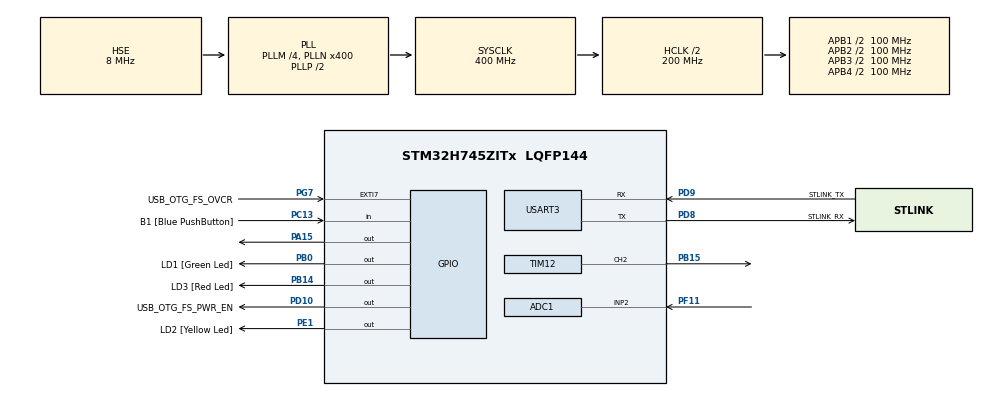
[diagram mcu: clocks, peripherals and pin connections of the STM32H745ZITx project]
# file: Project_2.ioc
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ADC1.Channel-0\#ChannelRegularConversion=ADC_CHANNEL_2
ADC1.ClockPrescaler=ADC_CLOCK_ASYNC_DIV2
ADC1.NbrOfConversion=1
ADC1.NbrOfConversionFlag=1
ADC1.OffsetNumber-0\#ChannelRegularConversion=ADC_OFFSET_NONE
ADC1.OffsetSignedSaturation-0\#ChannelRegularConversion=DISABLE
ADC1.Overrun=ADC_OVR_DATA_OVERWRITTEN
ADC1.OversamplingMode=DISABLE
ADC1.Rank-0\#ChannelRegularConversion=1
ADC1.SamplingTime-0\#ChannelRegularConversion=ADC_SAMPLETIME_1CYCLE_5
ADC1.master=1
CortexM4.IPs=FATFS_M4\:I,FREERTOS_M4\:I,IWDG2\:I,RCC,WWDG2\:I,DMA,BDMA,MDMA,NVIC2\:I,USART3,DEBUG,USB_DEVICE_M4\:I,USB_HOST_M4\:I,PDM2PCM_M4\:I,PWR,RESMGR_UTILITY,SYS_M4\:I,CORTEX_M4\:I,OPENAMP_M4\:I,VREFBUF,GPIO
CortexM7.IPs=FATFS_M7\:I,FREERTOS_M7\:I,IWDG1\:I,RCC\:I,WWDG1\:I,DMA\:I,BDMA\:I,MDMA\:I,NVIC1\:I,SYS\:I,USART3\:I,CORTEX_M7\:I,DEBUG\:I,USB_DEVICE_M7\:I,USB_HOST_M7\:I,PDM2PCM_M7\:I,PWR\:I,RESMGR_UTILITY\:I,OPENAMP_M7\:I,VREFBUF\:I,GPIO\:I,TIM4\:I,TIM12\:I,ADC1\:I
CortexM7.Pins=PA15 (JTDI)
FREERTOS_M7.Mutexes01=Mutex,Dynamic,NULL
FREERTOS_M7.Tasks01=defaultTask,24,128,StartDefaultTask,Default,NULL,Dynamic,NULL,NULL;THREAD1,24,128,proc_terminal_input,Default,NULL,Dynamic,NULL,NULL;THREAD2,24,128,read_from_ADC,Default,NULL,Dynamic,NULL,NULL
FREERTOS_M7.configUSE_NEWLIB_REENTRANT=1
Mcu.Family=STM32H7
Mcu.Name=STM32H745ZITx
Mcu.Package=LQFP144
NVIC1.PriorityGroup=NVIC_PRIORITYGROUP_4
NVIC1.TIM4_IRQn=true\:15\:0\:false\:false\:true\:false\:false\:true\:true
NVIC1.TimeBase=TIM4_IRQn
NVIC1.TimeBaseIP=TIM4
NVIC2.PriorityGroup=NVIC_PRIORITYGROUP_4
PA1.PinAttribute=CortexM4
PA1.Signal=ETH_REF_CLK
PA11.PinAttribute=CortexM7
PA11.Signal=USB_OTG_FS_DM
PA12.PinAttribute=CortexM7
PA12.Signal=USB_OTG_FS_DP
PA15\ (JTDI).GPIO_Speed=GPIO_SPEED_FREQ_VERY_HIGH
PA15\ (JTDI).PinAttribute=CortexM7
PA15\ (JTDI).Signal=GPIO_Output
PA2.PinAttribute=CortexM4
PA2.Signal=ETH_MDIO
PA7.PinAttribute=CortexM4
PA7.Signal=ETH_CRS_DV
PA8.PinAttribute=CortexM7
PA8.Signal=USB_OTG_FS_SOF
PA9.PinAttribute=CortexM7
PA9.Signal=USB_OTG_FS_VBUS
PB0.GPIO_Label=LD1 [Green Led]
PB0.PinAttribute=Free
PB0.Signal=GPIO_Output
PB13.PinAttribute=CortexM4
PB13.Signal=ETH_TXD1
PB14.GPIO_Label=LD3 [Red Led]
PB14.PinAttribute=Free
PB14.Signal=GPIO_Output
PB15.GPIO_PuPd=GPIO_NOPULL
PB15.GPIO_Speed=GPIO_SPEED_FREQ_VERY_HIGH
PB15.PinAttribute=CortexM7
PB15.Signal=S_TIM12_CH2
PC1.PinAttribute=CortexM4
PC1.Signal=ETH_MDC
PC13.GPIO_Label=B1 [Blue PushButton]
PC13.PinAttribute=Free
PC13.Signal=GPIO_Input
PC14-OSC32_IN\ (OSC32_IN).Mode=LSE-External-Oscillator
PC14-OSC32_IN\ (OSC32_IN).PinAttribute=CortexM7
PC14-OSC32_IN\ (OSC32_IN).Signal=RCC_OSC32_IN
PC15-OSC32_OUT\ (OSC32_OUT).Mode=LSE-External-Oscillator
PC15-OSC32_OUT\ (OSC32_OUT).PinAttribute=CortexM7
PC15-OSC32_OUT\ (OSC32_OUT).Signal=RCC_OSC32_OUT
PC4.PinAttribute=CortexM4
PC4.Signal=ETH_RXD0
PC5.PinAttribute=CortexM4
PC5.Signal=ETH_RXD1
PD0.PinAttribute=CortexM7
PD0.Signal=UART4_RX
PD1.PinAttribute=CortexM7
PD1.Signal=UART4_TX
PD10.GPIO_Label=USB_OTG_FS_PWR_EN
PD10.PinAttribute=Free
PD10.Signal=GPIO_Output
PD8.GPIO_Label=STLINK_RX
PD8.Mode=Asynchronous
PD8.PinAttribute=CortexM7
PD8.Signal=USART3_TX
PD9.GPIO_Label=STLINK_TX
PD9.Mode=Asynchronous
PD9.PinAttribute=CortexM7
PD9.Signal=USART3_RX
PE1.GPIO_Label=LD2 [Yellow Led]
PE1.PinAttribute=Free
PE1.Signal=GPIO_Output
PF11.Mode=IN2-Single-Ended
PF11.PinAttribute=CortexM7
PF11.Signal=ADC1_INP2
PG11.PinAttribute=CortexM4
PG11.Signal=ETH_TX_EN
PG13.PinAttribute=CortexM4
PG13.Signal=ETH_TXD0
PG7.GPIO_Label=USB_OTG_FS_OVCR
PG7.PinAttribute=Free
PG7.Signal=GPXTI7
PH0-OSC_IN\ (PH0).Mode=HSE-External-Clock-Source
PH0-OSC_IN\ (PH0).PinAttribute=CortexM7
PH0-OSC_IN\ (PH0).Signal=RCC_OSC_IN
PH1-OSC_OUT\ (PH1).PinAttribute=CortexM7
PH1-OSC_OUT\ (PH1).Signal=RCC_OSC_OUT
ProjectManager.HeapSize=M4-0x200,M7-0x400
ProjectManager.StackSize=M4-0x400,M7-0x800
ProjectManager.TargetToolchain=STM32CubeIDE
RCC.ADCCLockSelection=RCC_ADCCLKSOURCE_CLKP
RCC.ADCFreq_Value=64000000
RCC.APB1Freq_Value=100000000
RCC.APB2Freq_Value=100000000
RCC.APB3Freq_Value=100000000
RCC.APB4Freq_Value=100000000
RCC.CortexFreq_Value=400000000
RCC.D1PPRE=RCC_APB3_DIV2
RCC.D2PPRE1=RCC_APB1_DIV2
RCC.D2PPRE2=RCC_APB2_DIV2
RCC.D3PPRE=RCC_APB4_DIV2
RCC.DIVM1=4
RCC.DIVM3=1
RCC.DIVN1=400
RCC.DIVN3=18
RCC.DIVQ1=4
RCC.DIVQ3=3
RCC.HCLKFreq_Value=200000000
RCC.HPRE=RCC_HCLK_DIV2
RCC.HSE_VALUE=8000000
RCC.PLL1_VCI_Range-AdvancedSettings=RCC_PLL1VCIRANGE_0
RCC.PLL2FRACN=0
RCC.PLL2_VCI_Range-AdvancedSettings=RCC_PLL2VCIRANGE_0
RCC.PLL3FRACN=6144
RCC.PLL3_VCI_Range-AdvancedSettings=RCC_PLL3VCIRANGE_0
RCC.PLLFRACN=0
RCC.PLLSourceVirtual=RCC_PLLSOURCE_HSE
RCC.SYSCLKFreq_VALUE=400000000
RCC.SYSCLKSource=RCC_SYSCLKSOURCE_PLLCLK
RCC.SupplySource=PWR_DIRECT_SMPS_SUPPLY
RCC.USBCLockSelection=RCC_USBCLKSOURCE_PLL3
RCC.USBFreq_Value=50000000
SH.S_TIM12_CH2.0=TIM12_CH2,PWM Generation2 CH2
TIM12.AutoReloadPreload=TIM_AUTORELOAD_PRELOAD_ENABLE
TIM12.Channel-PWM\ Generation2\ CH2=TIM_CHANNEL_2
TIM12.Period=1
TIM12.Prescaler=9
TIM12.Pulse-PWM\ Generation2\ CH2=0
USART3.VirtualMode-Asynchronous=VM_ASYNC
VP_FREERTOS_M7_VS_CMSIS_V2.Mode=CMSIS_V2
VP_SYS_M4_VS_Systick.Mode=SysTick
VP_SYS_VS_tim4.Mode=TIM4
VP_TIM12_VS_ClockSourceINT.Mode=Internal
board=NUCLEO-H745ZI-Q

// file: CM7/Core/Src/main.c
/* USER CODE BEGIN Header */
/**
  ******************************************************************************
  * @file           : main.c
  * @brief          : Main program body
  ******************************************************************************
  * @attention
  *
  * Copyright (c) 2025 STMicroelectronics.
  * All rights reserved.
  *
  * This software is licensed under terms that can be found in the LICENSE file
  * in the root directory of this software component.
  * If no LICENSE file comes with this software, it is provided AS-IS.
  *
  ******************************************************************************
  */
/* USER CODE END Header */
#include "main.h"
#include "cmsis_os.h"

/* USER CODE BEGIN Includes */
#include <stdio.h>
#include <stdbool.h>
#include <stm32h7xx_hal_tim.h>
/* USER CODE END Includes */

/* USER CODE BEGIN PD */

#ifndef HSEM_ID_0
#define HSEM_ID_0 (0U) /* HW semaphore 0*/
#endif
/* USER CODE END PD */

ADC_HandleTypeDef hadc1;

TIM_HandleTypeDef htim12;

UART_HandleTypeDef huart3;

/* Definitions for defaultTask */
osThreadId_t defaultTaskHandle;
const osThreadAttr_t defaultTask_attributes = {
  .name = "defaultTask",
  .stack_size = 128 * 4,
  .priority = (osPriority_t) osPriorityNormal,
};
/* Definitions for THREAD1 */
osThreadId_t THREAD1Handle;
const osThreadAttr_t THREAD1_attributes = {
  .name = "THREAD1",
  .stack_size = 128 * 4,
  .priority = (osPriority_t) osPriorityNormal,
};
/* Definitions for THREAD2 */
osThreadId_t THREAD2Handle;
const osThreadAttr_t THREAD2_attributes = {
  .name = "THREAD2",
  .stack_size = 128 * 4,
  .priority = (osPriority_t) osPriorityNormal,
};
/* Definitions for Mutex */
osMutexId_t MutexHandle;
const osMutexAttr_t Mutex_attributes = {
  .name = "Mutex"
};

void SystemClock_Config(void);
void PeriphCommonClock_Config(void);
static void MX_GPIO_Init(void);
static void MX_USART3_UART_Init(void);
static void MX_TIM12_Init(void);
static void MX_ADC1_Init(void);
void StartDefaultTask(void *argument);
void proc_terminal_input(void *argument);
void read_from_ADC(void *argument);

/* USER CODE BEGIN PFP */
#ifdef __GNUC__
/* With GCC/RAISONANCE, small printf (option LD Linker->Libraries->Small printf
   set to 'Yes') calls __io_putchar() */
#define PUTCHAR_PROTOTYPE int __io_putchar(int ch)
#else
#define PUTCHAR_PROTOTYPE int fputc(int ch, FILE *f)
#endif /* __GNUC__ */
/* USER CODE END PFP */

/* USER CODE BEGIN 0 */
__IO uint16_t uhADCxConvertedValue = 0;

float freq;
float PERIOD_VALUE12;
float PULSE_SCALE12;
float pwm;
float* octaves;
int note_idx;
int octaves_idx;

#define SHORT_OCTAVE 0
#define FIRST_OCTAVE 1
#define SECOND_OCTAVE 2
#define THIRD_OCTAVE 3

#define LA  0
#define SI  1
#define DO  2
#define RE  3
#define MI  4
#define FA  5
#define SOL 6

bool power_on = false;

typedef void (*fptr)();

const float short_octaves[] = {220.00, 246.96, 130.82, 147.83, 164.81, 174.62, 196.00};
const float first_octaves[] = {440.00, 493.88, 261.63, 293.66, 329.63, 349.23, 392.00};
const float second_octaves[] = {880.00, 987.75, 523.25, 587.32, 659.26, 698.46, 784.00};
const float third_octaves[] = {1720.00, 1975.50, 1046.50, 1174.60, 1318.50, 1396.90, 1568.00};

//const float short_octaves[] = {2830.53, 2869.99, 2700.00, 2724.90, 2749.75, 2764.11, 2795.40};
//const float first_octaves[] = {3152.54, 3231.40, 2891.46, 2938.34, 2990.99, 3019.68, 3082.28};
//const float second_octaves[] = {3796.55, 3954.26, 3274.39, 3368.16, 3473.46, 3530.84, 3656.04};
//const float third_octaves[] = {5026.03, 5400.00, 4040.25, 4227.75, 4438.37, 4553.12, 4803.56};

const float* octaves_list[] = {short_octaves, first_octaves, second_octaves, third_octaves};

typedef struct {
	uint8_t ascii;
	fptr funcptr;
} Command;

Command* commands;
int cnt;

void set_pwm(float new_pwm) {
	osMutexAcquire(MutexHandle, osWaitForever);
	pwm = new_pwm;
	__HAL_TIM_SET_COMPARE(&htim12, TIM_CHANNEL_2, PULSE_SCALE12 * new_pwm);
	osMutexRelease(MutexHandle);
}

void set_frequency(float frequency) {
	freq = frequency;
	PERIOD_VALUE12 = (uint32_t)(20000000/freq - 1);
	PULSE_SCALE12 =  (uint32_t)(PERIOD_VALUE12/100.);
	__HAL_TIM_SET_AUTORELOAD(&htim12, PERIOD_VALUE12);
	set_pwm(pwm);
}

void set_note(int note) {
	float frequency = octaves[note] + 400;
	set_frequency(frequency);
}

void set_short_octave() {
	octaves = (float*)octaves_list[SHORT_OCTAVE];
	octaves_idx = SHORT_OCTAVE;
	printf("setting SHORT octave\r\n");
	set_note(note_idx);
}

void set_first_octave() {
	octaves = (float*)octaves_list[FIRST_OCTAVE];
	octaves_idx = FIRST_OCTAVE;
	printf("setting FIRST octave\r\n");
	set_note(note_idx);
}

void set_second_octave() {
	octaves = (float*)octaves_list[SECOND_OCTAVE];
	octaves_idx = SECOND_OCTAVE;
	printf("setting SECOND octave\r\n");
	set_note(note_idx);
}

void set_third_octave() {
	octaves = (float*)octaves_list[THIRD_OCTAVE];
	octaves_idx = THIRD_OCTAVE;
	printf("setting THIRD octave\r\n");
	set_note(note_idx);
}

void print_arrows() {
	uint8_t arrows[] = {62, 62, 62, 32};
	HAL_UART_Transmit(&huart3, arrows, 4, HAL_MAX_DELAY);
}

void print_menu() {
	printf("' ' - power on/off, 'a' - La, 'b' - Si, 'c' - Do, 'd' - Re, 'e' - Mi, 'f' - Fa, 'g' - Sol\r\n");
	printf("'0' - short octave, '1' - 1-st octave, '2' - 2-nd octave, '3' - 3-rd octave\r\n");
	printf("'m' - call menu\r\n");
}

void print_character(uint8_t ch) {
	HAL_UART_Transmit(&huart3, &ch, 1, HAL_MAX_DELAY);
	printf("\r\n");
}

void poweroff(bool use_print) {
	if (use_print) {
		printf("go off\r\n");
	}
	set_pwm(0);
}

void poweron() {
	printf("go on\r\n");
	set_pwm(pwm);
}

void power_control() {
	if (power_on) {
		poweroff(true);
	}
	else {
		poweron();
	}
	power_on = !power_on;
}

void set_la() {
	set_note(LA);
	note_idx = LA;
	printf("setting LA note\r\n");
}

void set_si() {
	set_note(SI);
	note_idx = SI;
	printf("setting SI note\r\n");
}

void set_do() {
	set_note(DO);
	note_idx = DO;
	printf("setting DO note\r\n");
}

void set_re() {
	set_note(RE);
	note_idx = RE;
	printf("setting RE note\r\n");
}

void set_mi() {
	set_note(MI);
	note_idx = MI;
	printf("setting MI note\r\n");
}

void set_fa() {
	set_note(FA);
	note_idx = FA;
	printf("setting FA note\r\n");
}

void set_sol() {
	set_note(SOL);
	note_idx = SOL;
	printf("setting SOL note\r\n");
}

Command init_command(uint8_t ascii, fptr funcptr) {
	Command cmd;
	cmd.ascii = ascii;
	cmd.funcptr = funcptr;
	cnt++;
	return cmd;
}

void call_command(uint8_t ascii) {
	for (int i = 0; i < cnt; i++) {
		Command* cmd = &commands[i];
		if (cmd->ascii == ascii) {
			cmd->funcptr();
			return;
		}
	}
	printf("Wrong command!\r\n");
}

void set_init_octave() {
	octaves = (float*)octaves_list[THIRD_OCTAVE];
}

/* USER CODE END 0 */

int main(void)
{
/* USER CODE BEGIN Boot_Mode_Sequence_0 */
  int32_t timeout;
/* USER CODE END Boot_Mode_Sequence_0 */

/* USER CODE BEGIN Boot_Mode_Sequence_1 */
  /* Wait until CPU2 boots and enters in stop mode or timeout*/
  timeout = 0xFFFF;
  while((__HAL_RCC_GET_FLAG(RCC_FLAG_D2CKRDY) != RESET) && (timeout-- > 0));
  if ( timeout < 0 )
  {
  Error_Handler();
  }
/* USER CODE END Boot_Mode_Sequence_1 */
  /* MCU Configuration--------------------------------------------------------*/

  /* Reset of all peripherals, Initializes the Flash interface and the Systick. */
  HAL_Init();

  /* Configure the system clock */
  SystemClock_Config();

/* Configure the peripherals common clocks */
  PeriphCommonClock_Config();
/* USER CODE BEGIN Boot_Mode_Sequence_2 */
/* When system initialization is finished, Cortex-M7 will release Cortex-M4 by means of
HSEM notification */
/*HW semaphore Clock enable*/
__HAL_RCC_HSEM_CLK_ENABLE();
/*Take HSEM */
HAL_HSEM_FastTake(HSEM_ID_0);
/*Release HSEM in order to notify the CPU2(CM4)*/
HAL_HSEM_Release(HSEM_ID_0,0);
/* wait until CPU2 wakes up from stop mode */
timeout = 0xFFFF;
while((__HAL_RCC_GET_FLAG(RCC_FLAG_D2CKRDY) == RESET) && (timeout-- > 0));
if ( timeout < 0 )
{
Error_Handler();
}
/* USER CODE END Boot_Mode_Sequence_2 */

  /* Initialize all configured peripherals */
  MX_GPIO_Init();
  MX_USART3_UART_Init();
  MX_TIM12_Init();
  MX_ADC1_Init();
  /* USER CODE BEGIN 2 */
  if (HAL_TIM_PWM_Start(&htim12, TIM_CHANNEL_2) != HAL_OK)
  {
    /* PWM generation Error */
    Error_Handler();
  }

  if (HAL_ADCEx_Calibration_Start(&hadc1, ADC_CALIB_OFFSET_LINEARITY, ADC_SINGLE_ENDED) != HAL_OK)
  {
	/* Calibration Error */
	Error_Handler();
  }

  poweroff(false);
  set_init_octave();
  set_note(LA);

  Command powermode = init_command(32, &power_control);           // " "
  Command la_cmd = init_command(97, &set_la);                     // "a"
  Command si_cmd = init_command(98, &set_si);                     // "b"
  Command do_cmd = init_command(99, &set_do);                     // "c"
  Command re_cmd = init_command(100, &set_re);                    // "d"
  Command mi_cmd = init_command(101, &set_mi);                    // "e"
  Command fa_cmd = init_command(102, &set_fa);                    // "f"
  Command sol_cmd = init_command(103, &set_sol);                  // "g"
  Command short_oct_cmd = init_command(48, &set_short_octave);    // "0"
  Command first_oct_cmd = init_command(49, &set_first_octave);    // "1"
  Command second_oct_cmd = init_command(50, &set_second_octave);  // "2"
  Command third_oct_cmd = init_command(51, &set_third_octave);    // "3"
  Command menu_cmd = init_command(109, &print_menu);              // "m"

  Command tmp[] = {
		  powermode,
		  la_cmd,
		  si_cmd,
		  do_cmd,
		  re_cmd,
		  mi_cmd,
		  fa_cmd,
		  sol_cmd,
		  short_oct_cmd,
		  first_oct_cmd,
		  second_oct_cmd,
		  third_oct_cmd,
		  menu_cmd,
  };
  commands = tmp;

  print_menu();
  print_arrows();

  /* USER CODE END 2 */

  /* Init scheduler */
  osKernelInitialize();
  /* Create the mutex(es) */
  /* creation of Mutex */
  MutexHandle = osMutexNew(&Mutex_attributes);

  /* Create the thread(s) */
  /* creation of defaultTask */
  defaultTaskHandle = osThreadNew(StartDefaultTask, NULL, &defaultTask_attributes);

  /* creation of THREAD1 */
  THREAD1Handle = osThreadNew(proc_terminal_input, NULL, &THREAD1_attributes);

  /* creation of THREAD2 */
  THREAD2Handle = osThreadNew(read_from_ADC, NULL, &THREAD2_attributes);

  /* Start scheduler */
  osKernelStart();

  /* We should never get here as control is now taken by the scheduler */
  /* Infinite loop */
  while (1)
  {

  }
}

void SystemClock_Config(void)
{
  RCC_OscInitTypeDef RCC_OscInitStruct = {0};
  RCC_ClkInitTypeDef RCC_ClkInitStruct = {0};

  /** Supply configuration update enable
  */
  HAL_PWREx_ConfigSupply(PWR_DIRECT_SMPS_SUPPLY);

  /** Configure the main internal regulator output voltage
  */
  __HAL_PWR_VOLTAGESCALING_CONFIG(PWR_REGULATOR_VOLTAGE_SCALE1);

  while(!__HAL_PWR_GET_FLAG(PWR_FLAG_VOSRDY)) {}

  /** Initializes the RCC Oscillators according to the specified parameters
  * in the RCC_OscInitTypeDef structure.
  */
  RCC_OscInitStruct.OscillatorType = RCC_OSCILLATORTYPE_HSI|RCC_OSCILLATORTYPE_HSE;
  RCC_OscInitStruct.HSEState = RCC_HSE_BYPASS;
  RCC_OscInitStruct.HSIState = RCC_HSI_DIV1;
  RCC_OscInitStruct.HSICalibrationValue = RCC_HSICALIBRATION_DEFAULT;
  RCC_OscInitStruct.PLL.PLLState = RCC_PLL_ON;
  RCC_OscInitStruct.PLL.PLLSource = RCC_PLLSOURCE_HSE;
  RCC_OscInitStruct.PLL.PLLM = 4;
  RCC_OscInitStruct.PLL.PLLN = 400;
  RCC_OscInitStruct.PLL.PLLP = 2;
  RCC_OscInitStruct.PLL.PLLQ = 4;
  RCC_OscInitStruct.PLL.PLLR = 2;
  RCC_OscInitStruct.PLL.PLLRGE = RCC_PLL1VCIRANGE_1;
  RCC_OscInitStruct.PLL.PLLVCOSEL = RCC_PLL1VCOWIDE;
  RCC_OscInitStruct.PLL.PLLFRACN = 0;
  if (HAL_RCC_OscConfig(&RCC_OscInitStruct) != HAL_OK)
  {
    Error_Handler();
  }

  /** Initializes the CPU, AHB and APB buses clocks
  */
  RCC_ClkInitStruct.ClockType = RCC_CLOCKTYPE_HCLK|RCC_CLOCKTYPE_SYSCLK
                              |RCC_CLOCKTYPE_PCLK1|RCC_CLOCKTYPE_PCLK2
                              |RCC_CLOCKTYPE_D3PCLK1|RCC_CLOCKTYPE_D1PCLK1;
  RCC_ClkInitStruct.SYSCLKSource = RCC_SYSCLKSOURCE_PLLCLK;
  RCC_ClkInitStruct.SYSCLKDivider = RCC_SYSCLK_DIV1;
  RCC_ClkInitStruct.AHBCLKDivider = RCC_HCLK_DIV2;
  RCC_ClkInitStruct.APB3CLKDivider = RCC_APB3_DIV2;
  RCC_ClkInitStruct.APB1CLKDivider = RCC_APB1_DIV2;
  RCC_ClkInitStruct.APB2CLKDivider = RCC_APB2_DIV2;
  RCC_ClkInitStruct.APB4CLKDivider = RCC_APB4_DIV2;

  if (HAL_RCC_ClockConfig(&RCC_ClkInitStruct, FLASH_LATENCY_2) != HAL_OK)
  {
    Error_Handler();
  }
}

void PeriphCommonClock_Config(void)
{
  RCC_PeriphCLKInitTypeDef PeriphClkInitStruct = {0};

  /** Initializes the peripherals clock
  */
  PeriphClkInitStruct.PeriphClockSelection = RCC_PERIPHCLK_CKPER;
  PeriphClkInitStruct.CkperClockSelection = RCC_CLKPSOURCE_HSI;
  if (HAL_RCCEx_PeriphCLKConfig(&PeriphClkInitStruct) != HAL_OK)
  {
    Error_Handler();
  }
}

static void MX_ADC1_Init(void)
{

  ADC_MultiModeTypeDef multimode = {0};
  ADC_ChannelConfTypeDef sConfig = {0};

  /** Common config
  */
  hadc1.Instance = ADC1;
  hadc1.Init.ClockPrescaler = ADC_CLOCK_ASYNC_DIV2;
  hadc1.Init.Resolution = ADC_RESOLUTION_16B;
  hadc1.Init.ScanConvMode = ADC_SCAN_DISABLE;
  hadc1.Init.EOCSelection = ADC_EOC_SINGLE_CONV;
  hadc1.Init.LowPowerAutoWait = DISABLE;
  hadc1.Init.ContinuousConvMode = DISABLE;
  hadc1.Init.NbrOfConversion = 1;
  hadc1.Init.DiscontinuousConvMode = DISABLE;
  hadc1.Init.ExternalTrigConv = ADC_SOFTWARE_START;
  hadc1.Init.ExternalTrigConvEdge = ADC_EXTERNALTRIGCONVEDGE_NONE;
  hadc1.Init.ConversionDataManagement = ADC_CONVERSIONDATA_DR;
  hadc1.Init.Overrun = ADC_OVR_DATA_OVERWRITTEN;
  hadc1.Init.LeftBitShift = ADC_LEFTBITSHIFT_NONE;
  hadc1.Init.OversamplingMode = DISABLE;
  if (HAL_ADC_Init(&hadc1) != HAL_OK)
  {
    Error_Handler();
  }

  /** Configure the ADC multi-mode
  */
  multimode.Mode = ADC_MODE_INDEPENDENT;
  if (HAL_ADCEx_MultiModeConfigChannel(&hadc1, &multimode) != HAL_OK)
  {
    Error_Handler();
  }

  /** Configure Regular Channel
  */
  sConfig.Channel = ADC_CHANNEL_2;
  sConfig.Rank = ADC_REGULAR_RANK_1;
  sConfig.SamplingTime = ADC_SAMPLETIME_1CYCLE_5;
  sConfig.SingleDiff = ADC_SINGLE_ENDED;
  sConfig.OffsetNumber = ADC_OFFSET_NONE;
  sConfig.Offset = 0;
  sConfig.OffsetSignedSaturation = DISABLE;
  if (HAL_ADC_ConfigChannel(&hadc1, &sConfig) != HAL_OK)
  {
    Error_Handler();
  }

}

static void MX_TIM12_Init(void)
{

  TIM_ClockConfigTypeDef sClockSourceConfig = {0};
  TIM_OC_InitTypeDef sConfigOC = {0};

  htim12.Instance = TIM12;
  htim12.Init.Prescaler = 9;
  htim12.Init.CounterMode = TIM_COUNTERMODE_UP;
  htim12.Init.Period = 1;
  htim12.Init.ClockDivision = TIM_CLOCKDIVISION_DIV1;
  htim12.Init.AutoReloadPreload = TIM_AUTORELOAD_PRELOAD_ENABLE;
  if (HAL_TIM_Base_Init(&htim12) != HAL_OK)
  {
    Error_Handler();
  }
  sClockSourceConfig.ClockSource = TIM_CLOCKSOURCE_INTERNAL;
  if (HAL_TIM_ConfigClockSource(&htim12, &sClockSourceConfig) != HAL_OK)
  {
    Error_Handler();
  }
  if (HAL_TIM_PWM_Init(&htim12) != HAL_OK)
  {
    Error_Handler();
  }
  sConfigOC.OCMode = TIM_OCMODE_PWM1;
  sConfigOC.Pulse = 0;
  sConfigOC.OCPolarity = TIM_OCPOLARITY_HIGH;
  sConfigOC.OCFastMode = TIM_OCFAST_DISABLE;
  if (HAL_TIM_PWM_ConfigChannel(&htim12, &sConfigOC, TIM_CHANNEL_2) != HAL_OK)
  {
    Error_Handler();
  }
  HAL_TIM_MspPostInit(&htim12);

}

static void MX_USART3_UART_Init(void)
{

  huart3.Instance = USART3;
  huart3.Init.BaudRate = 115200;
  huart3.Init.WordLength = UART_WORDLENGTH_8B;
  huart3.Init.StopBits = UART_STOPBITS_1;
  huart3.Init.Parity = UART_PARITY_NONE;
  huart3.Init.Mode = UART_MODE_TX_RX;
  huart3.Init.HwFlowCtl = UART_HWCONTROL_NONE;
  huart3.Init.OverSampling = UART_OVERSAMPLING_16;
  huart3.Init.OneBitSampling = UART_ONE_BIT_SAMPLE_DISABLE;
  huart3.Init.ClockPrescaler = UART_PRESCALER_DIV1;
  huart3.AdvancedInit.AdvFeatureInit = UART_ADVFEATURE_NO_INIT;
  if (HAL_UART_Init(&huart3) != HAL_OK)
  {
    Error_Handler();
  }
  if (HAL_UARTEx_SetTxFifoThreshold(&huart3, UART_TXFIFO_THRESHOLD_1_8) != HAL_OK)
  {
    Error_Handler();
  }
  if (HAL_UARTEx_SetRxFifoThreshold(&huart3, UART_RXFIFO_THRESHOLD_1_8) != HAL_OK)
  {
    Error_Handler();
  }
  if (HAL_UARTEx_DisableFifoMode(&huart3) != HAL_OK)
  {
    Error_Handler();
  }

}

static void MX_GPIO_Init(void)
{
  GPIO_InitTypeDef GPIO_InitStruct = {0};

  /* GPIO Ports Clock Enable */
  __HAL_RCC_GPIOC_CLK_ENABLE();
  __HAL_RCC_GPIOH_CLK_ENABLE();
  __HAL_RCC_GPIOF_CLK_ENABLE();
  __HAL_RCC_GPIOB_CLK_ENABLE();
  __HAL_RCC_GPIOD_CLK_ENABLE();
  __HAL_RCC_GPIOA_CLK_ENABLE();

  /*Configure GPIO pin Output Level */
  HAL_GPIO_WritePin(GPIOA, GPIO_PIN_15, GPIO_PIN_RESET);

  /*Configure GPIO pin : PA15 */
  GPIO_InitStruct.Pin = GPIO_PIN_15;
  GPIO_InitStruct.Mode = GPIO_MODE_OUTPUT_PP;
  GPIO_InitStruct.Pull = GPIO_NOPULL;
  GPIO_InitStruct.Speed = GPIO_SPEED_FREQ_VERY_HIGH;
  HAL_GPIO_Init(GPIOA, &GPIO_InitStruct);

}

/* USER CODE BEGIN 4 */
/**
  * @brief  Retargets the C library printf function to the USART.
  * @param  None
  * @retval None
  */
PUTCHAR_PROTOTYPE
{
  /* Place your implementation of fputc here */
  /* e.g. write a character to the USARTx and Loop until the end of transmission */
  HAL_UART_Transmit(&huart3, (uint8_t *)&ch, 1, HAL_MAX_DELAY);

  return ch;
}
/* USER CODE END 4 */

void StartDefaultTask(void *argument)
{
  for(;;)
  {
    osDelay(1);
  }
}

void proc_terminal_input(void *argument)
{
  /* USER CODE BEGIN proc_terminal_input */
	uint8_t data;
  /* Infinite loop */
  for(;;)
  {
	  HAL_StatusTypeDef status = HAL_UART_Receive(&huart3, &data, 1, HAL_MAX_DELAY);
	  if (status == HAL_OK) {
//		  printf("data: %d\r\n", data);
		  print_character(data);
		  call_command(data);
		  print_arrows();
	  }
  }
  /* USER CODE END proc_terminal_input */
}

void read_from_ADC(void *argument)
{
  /* USER CODE BEGIN read_from_ADC */
  /* Infinite loop */
  for(;;)
  {
	  if (HAL_ADC_Start(&hadc1) != HAL_OK)
		{
		  /* Start Conversation Error */
		  Error_Handler();
		}
	  if (HAL_ADC_PollForConversion(&hadc1, 10) != HAL_OK)
	    {
	      /* End Of Conversion flag not set on time */
	      Error_Handler();
	    }
	  else
	    {
	      uhADCxConvertedValue = HAL_ADC_GetValue(&hadc1);

	      if (!power_on) {
	    	  continue;
	      }

	      float max_val;
	      if (octaves_idx == SHORT_OCTAVE || octaves_idx == FIRST_OCTAVE) {
	    	  max_val = 10;
	      }
	      else {
	    	  max_val = 10;
	      }

	      float new_pwm = uhADCxConvertedValue / 65535. * max_val;
		  //new_pwm = new_pwm > 50 ? 50 : new_pwm;
		  set_pwm(new_pwm);
		  //printf("%d %d\r\n", uhADCxConvertedValue, (int)(new_pwm));
	    }
      osDelay(1);
  }
  /* USER CODE END read_from_ADC */
}

void HAL_TIM_PeriodElapsedCallback(TIM_HandleTypeDef *htim)
{
  if (htim->Instance == TIM4) {
    HAL_IncTick();
  }
}

void Error_Handler(void)
{
  __disable_irq();
  while (1)
  {
  }
}
